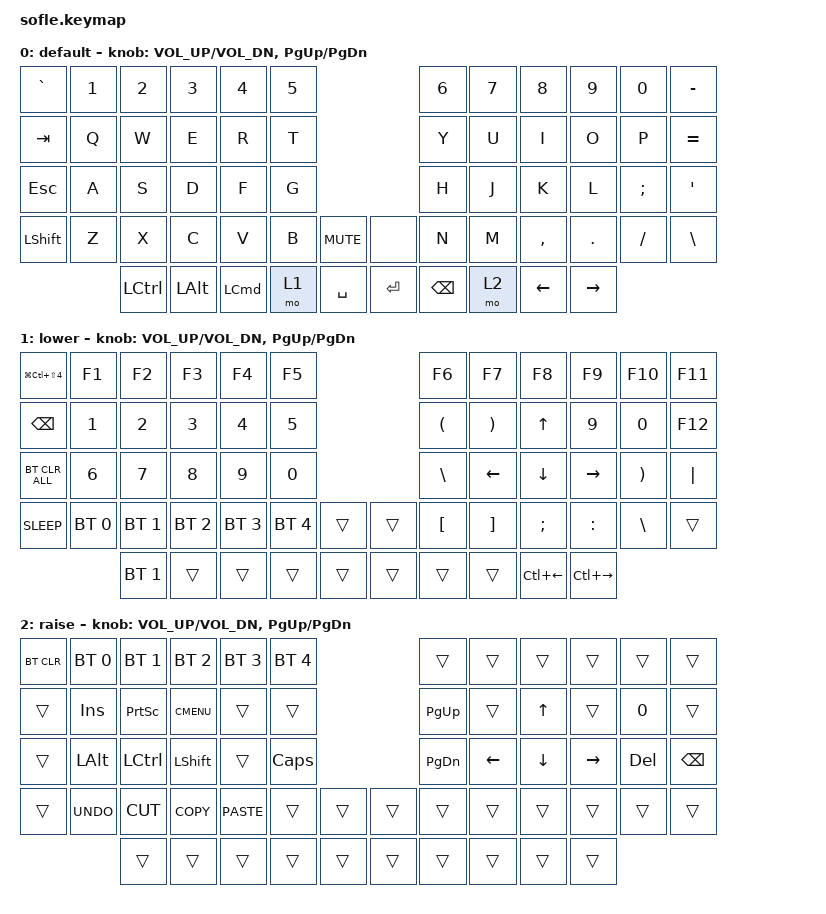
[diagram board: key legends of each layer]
/*
 * Copyright (c) 2020 The ZMK Contributors
 *
 * SPDX-License-Identifier: MIT
 */

#include <behaviors.dtsi>
#include <dt-bindings/zmk/bt.h>
#include <dt-bindings/zmk/keys.h>

#define BASE 0
#define LOWER 1
#define RAISE 2
#define ADJUST 3

/ {
    // Activate ADJUST layer by pressing raise and lower

    conditional_layers {
        compatible = "zmk,conditional-layers";

        adjust_layer {
            if-layers = <1 2>;
            then-layer = <3>;
        };
    };

    keymap {
        compatible = "zmk,keymap";

        default_layer {
            label = "default";

            // ------------------------------------------------------------------------------------------------------------
            // |   `   |  1  |  2  |  3   |  4   |  5   |                   |  6   |  7    |  8    |  9   |   0   |       |
            // |  ESC  |  Q  |  W  |  E   |  R   |  T   |                   |  Y   |  U    |  I    |  O   |   P   | BKSPC |
            // |  TAB  |  A  |  S  |  D   |  F   |  G   |                   |  H   |  J    |  K    |  L   |   ;   |   '   |
            // | SHIFT |  Z  |  X  |  C   |  V   |  B   |  MUTE  |  |       |  N   |  M    |  ,    |  .   |   /   | SHIFT |
            //               | GUI | ALT  | CTRL | LOWER|  ENTER |  | SPACE | RAISE| CTRL  | ALT   | GUI  |

            bindings = <
&kp GRAVE  &kp N1  &kp N2            &kp N3    &kp N4            &kp N5                           &kp N6         &kp N7  &kp N8     &kp N9     &kp N0    &kp MINUS
&kp TAB    &kp Q   &kp W             &kp E     &kp R             &kp T                            &kp Y          &kp U   &kp I      &kp O      &kp P     &kp EQUAL
&kp ESC    &kp A   &kp S             &kp D     &kp F             &kp G                            &kp H          &kp J   &kp K      &kp L      &kp SEMI  &kp SQT
&kp LSHFT  &kp Z   &kp X             &kp C     &kp V             &kp B   &kp C_MUTE    &none      &kp N          &kp M   &kp COMMA  &kp DOT    &kp FSLH  &kp BACKSLASH
                   &kp LEFT_CONTROL  &kp LALT  &kp LEFT_COMMAND  &mo 1   &kp SPACE     &kp ENTER  &kp BACKSPACE  &mo 2   &kp LEFT   &kp RIGHT
            >;

            sensor-bindings = <&inc_dec_kp C_VOL_UP C_VOL_DN &inc_dec_kp PG_UP PG_DN>;
        };

        lower_layer {
            label = "lower";

            // TODO: Some binds are waiting for shifted keycode support.
            // ------------------------------------------------------------------------------------------------------------
            // |       |  F1 |  F2 |  F3  |  F4  |  F5  |                   |  F6  |  F7   |  F8   |  F9  |  F10  |  F11  |
            // |   `   |  1  |  2  |  3   |  4   |  5   |                   |  6   |  7    |  8    |  9   |   0   |  F12  |
            // |       |  !  |  @  |  #   |  $   |  %   |                   |  ^   |  &    |  *    |  (   |   )   |   |   |
            // |       |  =  |  -  |  +   |  {   |  }   |        |  |       |  [   |  ]    |  ;    |  :   |   \   |       |
            //               |     |      |      |      |        |  |       |      |       |       |      |

            bindings = <
&kp LG(LC(LS(NUMBER_4)))  &kp F1        &kp F2        &kp F3        &kp F4        &kp F5                          &kp F6                &kp F7                 &kp F8        &kp F9               &kp F10   &kp F11
&kp BACKSPACE             &kp NUMBER_1  &kp NUMBER_2  &kp NUMBER_3  &kp NUMBER_4  &kp N5                          &kp LEFT_PARENTHESIS  &kp RIGHT_PARENTHESIS  &kp UP_ARROW  &kp N9               &kp N0    &kp F12
&bt BT_CLR_ALL            &kp NUMBER_6  &kp N7        &kp N8        &kp N9        &kp N0                          &kp BACKSLASH         &kp LEFT               &kp DOWN      &kp RIGHT_ARROW      &kp RPAR  &kp PIPE
&kp K_SLEEP               &bt BT_SEL 0  &bt BT_SEL 1  &bt BT_SEL 2  &bt BT_SEL 3  &bt BT_SEL 4  &trans    &trans  &kp LBKT              &kp RBKT               &kp SEMI      &kp COLON            &kp BSLH  &trans
                                        &bt BT_SEL 1  &trans        &trans        &trans        &trans    &trans  &trans                &trans                 &kp LC(LEFT)  &kp LC(RIGHT_ARROW)
            >;

            sensor-bindings = <&inc_dec_kp C_VOL_UP C_VOL_DN &inc_dec_kp PG_UP PG_DN>;
        };

        raise_layer {
            label = "raise";

            // ------------------------------------------------------------------------------------------------------------
            // | BTCLR | BT1  | BT2  |  BT3  |  BT4  |  BT5 |                |      |      |       |      |       |       |
            // |       | INS  | PSCR | GUI   |       |      |                | PGUP |      |   ^   |      |       |       |
            // |       | ALT  | CTRL | SHIFT |       | CAPS |                | PGDN |   <- |   v   |  ->  |  DEL  | BKSPC |
            // |       | UNDO | CUT  | COPY  | PASTE |      |      |  |      |      |      |       |      |       |       |
            //                |      |       |       |      |      |  |      |      |      |       |      |

            bindings = <
&bt BT_CLR  &bt BT_SEL 0  &bt BT_SEL 1  &bt BT_SEL 2  &bt BT_SEL 3  &bt BT_SEL 4                    &trans     &trans    &trans    &trans     &trans   &trans
&trans      &kp INS       &kp PSCRN     &kp K_CMENU   &trans        &trans                          &kp PG_UP  &trans    &kp UP    &trans     &kp N0   &trans
&trans      &kp LALT      &kp LCTRL     &kp LSHFT     &trans        &kp CLCK                        &kp PG_DN  &kp LEFT  &kp DOWN  &kp RIGHT  &kp DEL  &kp BSPC
&trans      &kp K_UNDO    &kp K_CUT     &kp K_COPY    &kp K_PASTE   &trans        &trans    &trans  &trans     &trans    &trans    &trans     &trans   &trans
                          &trans        &trans        &trans        &trans        &trans    &trans  &trans     &trans    &trans    &trans
            >;

            sensor-bindings = <&inc_dec_kp C_VOL_UP C_VOL_DN &inc_dec_kp PG_UP PG_DN>;
        };
    };
};
